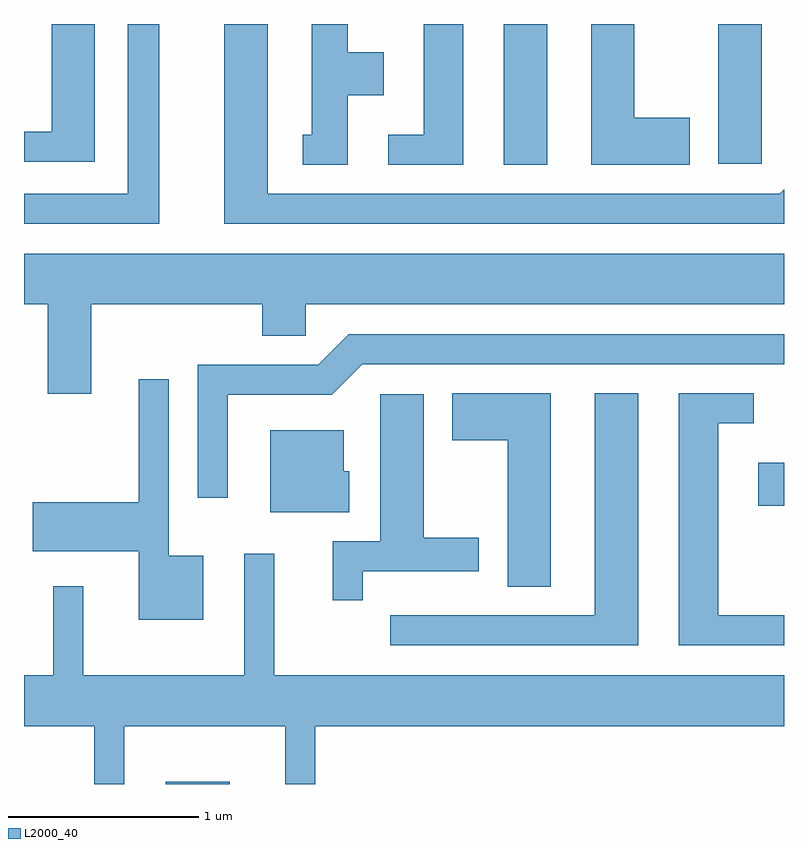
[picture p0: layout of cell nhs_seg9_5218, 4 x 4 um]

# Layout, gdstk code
import gdstk
lib = gdstk.Library(unit=1e-6, precision=1e-09)
def R(c, l, rs):  # rectangles x0, y0, x1, y1
    for r in rs: c.add(gdstk.rectangle(r[:2], r[2:], *l))
def P(c, l, *ps):  # polygons
    for p in ps: c.add(gdstk.Polygon(p, *l))
L2000_40 = (2000, 40)

nhs_seg9_5218 = lib.new_cell('nhs_seg9_5218')
R(nhs_seg9_5218, L2000_40, [(340.356,1960.432,340.694,1960.444), (343.476,1961.896,343.611,1962.124), (342.136,1963.691,342.364,1964.432), (343.266,1963.696,343.494,1964.432)])
P(nhs_seg9_5218, L2000_40, [(343.611,1963.561),(343.589,1963.539),(340.894,1963.539),(340.894,1964.432),(340.666,1964.432),(340.666,1963.381),(343.611,1963.381)],
  [(341.924,1964.432),(341.716,1964.432),(341.716,1963.849),(341.528,1963.849),(341.528,1963.691),(341.924,1963.691)],
  [(341.314,1964.056),(341.504,1964.056),(341.504,1964.284),(341.314,1964.284),(341.314,1964.432),(341.126,1964.432),(341.126,1963.849),(341.078,1963.849),(341.078,1963.691),(341.314,1963.691)],
  [(339.984,1964.432),(339.756,1964.432),(339.756,1963.864),(339.611,1963.864),(339.611,1963.706),(339.984,1963.706)],
  [(343.114,1963.939),(342.824,1963.939),(342.824,1964.432),(342.596,1964.432),(342.596,1963.691),(343.114,1963.691)],
  [(340.324,1964.432),(340.156,1964.432),(340.156,1963.539),(339.611,1963.539),(339.611,1963.381),(340.324,1963.381)],
  [(339.964,1962.956),(340.866,1962.956),(340.866,1962.791),(341.094,1962.791),(341.094,1962.956),(343.611,1962.956),(343.611,1963.224),(339.611,1963.224),(339.611,1962.956),(339.736,1962.956),(339.736,1962.486),(339.964,1962.486)],
  [(340.684,1962.481),(341.232,1962.481),(341.392,1962.641),(343.611,1962.641),(343.611,1962.799),(341.319,1962.799),(341.159,1962.639),(340.526,1962.639),(340.526,1961.938),(340.684,1961.938)],
  [(340.554,1961.634),(340.374,1961.634),(340.374,1962.563),(340.216,1962.563),(340.216,1961.914),(339.656,1961.914),(339.656,1961.656),(340.216,1961.656),(340.216,1961.296),(340.554,1961.296)],
  [(342.384,1962.489),(341.866,1962.489),(341.866,1962.241),(342.156,1962.241),(342.156,1961.471),(342.384,1961.471)],
  [(343.611,1961.319),(343.264,1961.319),(343.264,1962.331),(343.453,1962.331),(343.453,1962.489),(343.056,1962.489),(343.056,1961.161),(343.611,1961.161)],
  [(342.844,1962.489),(342.616,1962.489),(342.616,1961.319),(341.538,1961.319),(341.538,1961.161),(342.844,1961.161)],
  [(341.394,1961.551),(342.004,1961.551),(342.004,1961.729),(341.714,1961.729),(341.714,1962.484),(341.486,1962.484),(341.486,1961.709),(341.236,1961.709),(341.236,1961.398),(341.394,1961.398)],
  [(341.324,1962.079),(341.294,1962.079),(341.294,1962.294),(340.906,1962.294),(340.906,1961.861),(341.324,1961.861)],
  [(340.139,1960.736),(340.986,1960.736),(340.986,1960.432),(341.144,1960.432),(341.144,1960.736),(343.611,1960.736),(343.611,1961.004),(340.929,1961.004),(340.929,1961.643),(340.771,1961.643),(340.771,1961.004),(339.924,1961.004),(339.924,1961.473),(339.766,1961.473),(339.766,1961.004),(339.611,1961.004),(339.611,1960.736),(339.981,1960.736),(339.981,1960.432),(340.139,1960.432)])

lib.write_gds('nhs_seg9_5218.gds')
